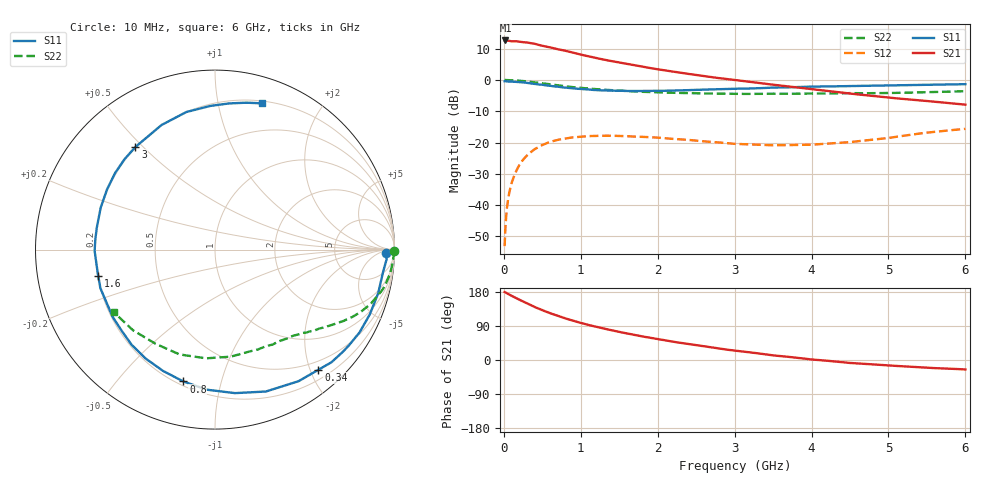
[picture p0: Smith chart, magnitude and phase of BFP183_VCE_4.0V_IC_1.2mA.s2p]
! Infineon Technologies  Discrete & RF Semiconductors
! BFP183
! VCE = 4.0 V,  IC =  1.2 mA
! Common Emitter S-Parameters:  Jan 2016
# GHz  S  MA  R  50
!  f  S11  S21  S12  S22
! GHz  MAG  ANG  MAG  ANG  MAG  ANG  MAG  ANG
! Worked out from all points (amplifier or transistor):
!   210 points, 10 MHz to 6 GHz, reference 50 ohm
!   highest |S21| = 12.6 dB at 20 MHz (marker M1)
!   |S21| within 3 dB of that: start of sweep to 738.8 MHz
!   unconditionally stable (mu >= 1): 2.424 GHz to end of sweep
!   at 185 MHz: K = 0.08, MSG = 20.1 dB, |S12| = -28.0 dB
!   at 1.52 GHz: K = 0.60, MSG = 11.7 dB, |S12| = -17.9 dB
!   at 6 GHz: K = 1.00, MAG = 3.5 dB, |S12| = -15.6 dB
!   S11 on the Smith chart (normalised r, x): 10 MHz: 35, -17; 340 MHz: 0.35, -2.13; 800 MHz: 0.22, -0.76; 1.6 GHz: 0.20, -0.11; 3 GHz: 0.20, +0.47; 6 GHz: 0.22, +1.35
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0.01  0.9553 -1.3  4.203 179.3  0.0022 87.6  0.9999 -0.5
0.02  0.9578 -3.2  4.283 178.5  0.0042 81.3  0.9973 -1.0
0.035  0.9505 -5.4  4.274 176.7  0.0077 84.4  0.9958 -1.8
0.05  0.9446 -7.6  4.269 174.8  0.0112 85.6  0.9945 -2.6
0.105  0.9398 -15.7  4.152 169.1  0.0233 79.8  0.9894 -5.5
0.15  0.9351 -22.7  4.179 164.3  0.0325 76.3  0.9844 -7.9
0.24  0.9175 -35.5  4.029 155.2  0.0511 68.9  0.9657 -12.4
0.34  0.8832 -49.3  3.893 145.9  0.0682 60.6  0.9353 -16.7
0.4  0.8685 -57.6  3.79 139.8  0.0781 56.4  0.9181 -19.3
0.52  0.8306 -72.6  3.476 129.7  0.0933 48.2  0.878 -23.6
0.6  0.8073 -82.1  3.33 123.6  0.1024 43.4  0.8526 -26.1
0.8  0.7555 -103.5  2.932 109.6  0.1161 32.9  0.7933 -31.2
1.02  0.7153 -124.2  2.509 96.9  0.1243 23.6  0.7434 -35.8
1.3  0.6824 -146.7  2.115 83.0  0.1288 14.5  0.6991 -40.6
1.6  0.6673 -167.3  1.809 70.0  0.1265 7.5  0.6649 -45.2
2.02  0.6698 168.6  1.468 54.4  0.1191 1.3  0.6346 -51.8
2.4  0.6889 150.8  1.25 42.0  0.11 -1.9  0.6186 -58.8
3  0.7234 127.8  1.004 24.6  0.0952 -0.2  0.5999 -70.6
3.1  0.7259 124.8  0.968 22.5  0.0941 1.1  0.5987 -72.8
4.1  0.7849 99.7  0.692 -0.2  0.094 16.3  0.6066 -97.5
5.1  0.8213 83.1  0.509 -15.6  0.1233 27.2  0.6218 -124.9
6  0.8563 72.1  0.403 -24.9  0.1654 23.4  0.6627 -148.1
